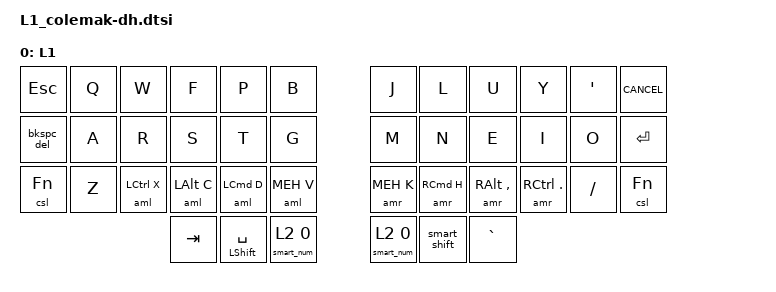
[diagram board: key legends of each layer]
/**
 * Alpha Layer - Colemak-DH
 */

/ {
  keymap {
    compatible = "zmk,keymap";

    layer_1 {
      label = "L1";
      bindings = <
// ╭───────────────┬───────────────┬───────────────┬───────────────┬───────────────┬───────────────╮   ╭───────────────┬───────────────┬───────────────┬───────────────┬───────────────┬───────────────╮
//  0               1               2               3               4               5                   6               7               8               9               10              11
    &kp ESC         &kp Q           &kp W           &kp F           &kp P           &kp B               &kp J           &kp L           &kp U           &kp Y           &kp SQT         &kp K_CANCEL
// ├───────────────├───────────────┼───────────────┼───────────────┼───────────────┼───────────────┤   ├───────────────├───────────────┼───────────────┼───────────────┼───────────────┼───────────────┤
//  12              13              14              15              16              17                  18              19              20              21              22              23
    &bkspc_del      &kp A           &kp R           &kp S           &kp T           &kp G               &kp M           &kp N           &kp E           &kp I           &kp O           &kp ENTER
// ├───────────────├───────────────┼───────────────┼───────────────┼───────────────┼───────────────┤   ├───────────────├───────────────┼───────────────┼───────────────┼───────────────┼───────────────┤
//  24              25              26              27              28              29                  30              31              32              33              34              35
    &csl Fn         &kp Z           &aml LCTRL X    &aml LALT C     &aml LCMD D     &aml MEH V          &amr MEH K      &amr RCMD H     &amr RALT COMMA &amr RCTRL DOT  &kp SLASH       &csl Fn
// ╰───────────────┴───────────────┴───────────────┼───────────────┼───────────────┼───────────────┤   ├───────────────├───────────────┼───────────────┼───────────────┴───────────────┴───────────────╯
//                                                  36              37              38                  39              40              41
                                                    &kp TAB         &mt LSHFT SPACE &smart_num L2 0     &smart_num L2 0 &smart_shift    &kp GRAVE
//                                                 ╰───────────────┴───────────────┴───────────────╯   ╰───────────────┴───────────────┴───────────────╯
      >;
    };
  };
};
